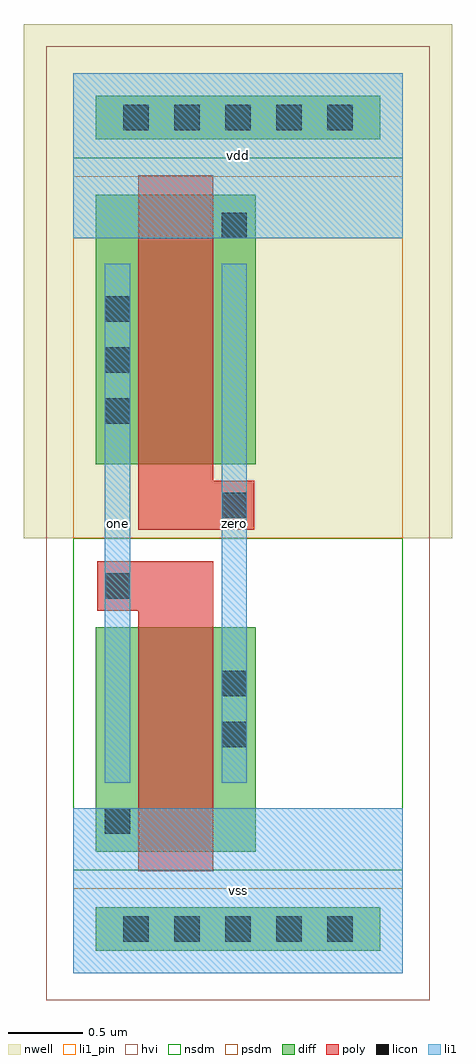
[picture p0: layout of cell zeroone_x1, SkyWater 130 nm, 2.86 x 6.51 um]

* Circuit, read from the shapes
.subckt zeroone_x1 one vdd vss zero
XM1 zero one vss VSUBS sky130_fd_pr__nfet_g5v0d10v5 w=1.495 l=0.5
XM2 vdd zero one n1 sky130_fd_pr__pfet_g5v0d10v5 w=1.795 l=0.5
.ends

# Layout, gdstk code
import gdstk
lib = gdstk.Library(unit=1e-6, precision=1e-09)
def R(c, l, rs):  # rectangles x0, y0, x1, y1
    for r in rs: c.add(gdstk.rectangle(r[:2], r[2:], *l))
def A(c, l, x, y, w, h, nx, ny, dx, dy):  # array of equal rectangles
    R(c, l, [(x+i*dx, y+j*dy, x+i*dx+w, y+j*dy+h) for i in range(nx) for j in range(ny)])
def P(c, l, *ps):  # polygons
    for p in ps: c.add(gdstk.Polygon(p, *l))
nwell = (64, 20)
diff = (65, 20)
poly = (66, 20)
licon = (66, 44)
li1_pin = (67, 16)
li1 = (67, 20)
hvi = (75, 20)
nsdm = (93, 44)
psdm = (94, 20)

zeroone_x1 = lib.new_cell('zeroone_x1')
R(zeroone_x1, nwell, [(-0.33,2.9,2.53,6.33)])
R(zeroone_x1, diff, [(0.15,0.15,2.05,0.44), (0.15,0.81,1.22,2.305), (0.15,3.395,1.22,5.19), (0.15,5.56,2.05,5.85)])
P(zeroone_x1, poly, [(0.435,0.68),(0.435,2.415),(0.16,2.415),(0.16,2.745),(0.935,2.745),(0.935,0.68)],
  [(0.435,2.955),(0.435,5.32),(0.935,5.32),(0.935,3.285),(1.21,3.285),(1.21,2.955)])
A(zeroone_x1, licon, 0.335, 0.21, 0.17, 0.17, 5, 2, 0.34, 5.41)
A(zeroone_x1, licon, 0.21, 3.665, 0.17, 0.17, 1, 3, 0, 0.34)
R(zeroone_x1, licon, [(0.21,0.93,0.38,1.1), (0.99,1.505,1.16,1.675), (0.99,1.845,1.16,2.015), (0.21,2.495,0.38,2.665), (0.99,3.035,1.16,3.205), (0.99,4.9,1.16,5.07)])
R(zeroone_x1, li1_pin, [(0,0,2.2,1.1), (0.21,1.27,0.38,4.73), (0.99,1.27,1.16,4.73), (0,4.9,2.2,6)])
R(zeroone_x1, li1, [(0,0,2.2,1.1), (0.21,1.27,0.38,4.73), (0.99,1.27,1.16,4.73), (0,4.9,2.2,6)])
R(zeroone_x1, hvi, [(-0.18,-0.18,2.38,6.18)])
R(zeroone_x1, nsdm, [(0,0.685,2.2,2.9), (0,5.435,2.2,6)])
R(zeroone_x1, psdm, [(0,0,2.2,0.565), (0,2.9,2.2,5.315)])
zeroone_x1.add(gdstk.Label('vss', (1.1,0.55), layer=67, texttype=16))
zeroone_x1.add(gdstk.Label('one', (0.295,3), layer=67, texttype=16))
zeroone_x1.add(gdstk.Label('vdd', (1.1,5.45), layer=67, texttype=16))
zeroone_x1.add(gdstk.Label('zero', (1.075,3), layer=67, texttype=16))

lib.write_gds('zeroone_x1.gds')
